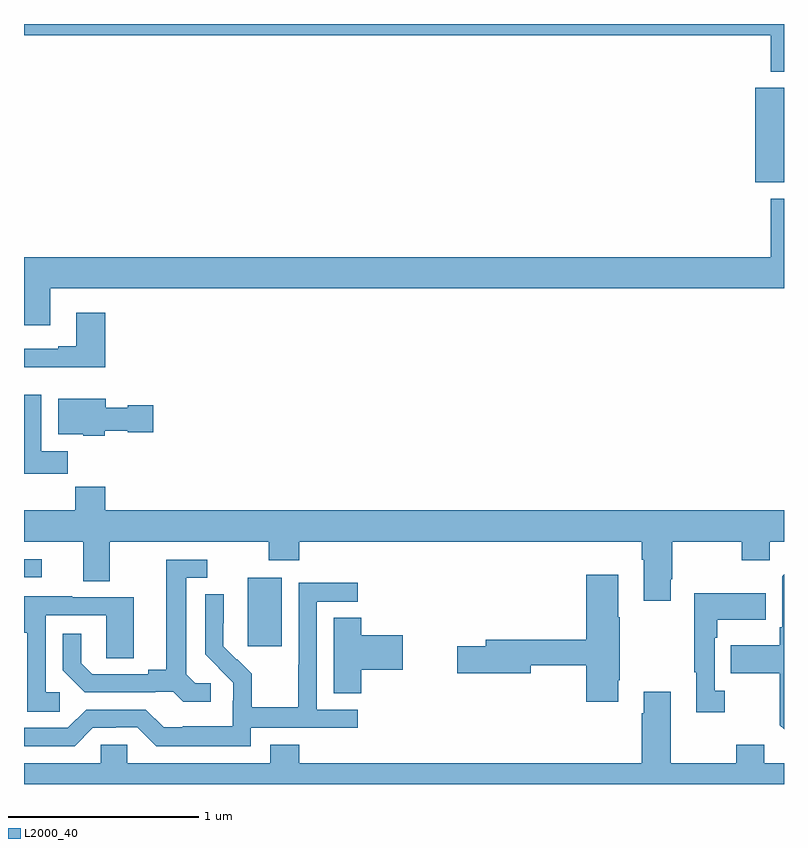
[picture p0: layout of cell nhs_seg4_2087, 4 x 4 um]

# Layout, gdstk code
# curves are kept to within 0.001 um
import gdstk
lib = gdstk.Library(unit=1e-6, precision=1e-09)
def R(c, l, rs):  # rectangles x0, y0, x1, y1
    for r in rs: c.add(gdstk.rectangle(r[:2], r[2:], *l))
def P(c, l, *ps):  # polygons
    for p in ps: c.add(gdstk.Polygon(p, *l))
L2000_40 = (2000, 40)

nhs_seg4_2087 = lib.new_cell('nhs_seg4_2087')
R(nhs_seg4_2087, L2000_40, [(220.178,773.625,220.357,773.986), (219,773.988,219.094,774.084), (222.848,776.066,223,776.565)])
P(nhs_seg4_2087, L2000_40, [(223,776.9),(219,776.9),(219,776.84),(222.929,776.84),(222.929,776.65),(223,776.65)],
  [(219.139,775.508),(223,775.508),(223,775.981),(222.929,775.981),(222.929,775.672),(219,775.672),(219,775.314),(219.139,775.314)],
  [(219.428,775.381),(219.275,775.381),(219.275,775.204),(219.179,775.204),(219.179,775.191),(219,775.191),(219,775.094),(219.428,775.094)],
  [(219.23,774.652),(219.091,774.652),(219.091,774.949),(219,774.949),(219,774.534),(219.23,774.534)],
  [(219.426,774.758),(219.546,774.758),(219.546,774.751),(219.679,774.751),(219.679,774.893),(219.546,774.893),(219.546,774.88),(219.43,774.88),(219.43,774.928),(219.179,774.928),(219.179,774.74),(219.312,774.74),(219.312,774.734),(219.426,774.734)],
  [(219.428,774.464),(219.271,774.464),(219.271,774.34),(219,774.34),(219,774.176),(219.311,774.176),(219.311,773.968),(219.451,773.968),(219.451,774.176),(220.288,774.176),(220.288,774.077),(220.448,774.077),(220.448,774.176),(222.251,774.176),(222.251,774.08),(222.263,774.08),(222.263,773.865),(222.403,773.865),(222.403,773.977),(222.411,773.977),(222.411,774.176),(222.778,774.176),(222.778,774.077),(222.924,774.077),(222.924,774.176),(223,774.176),(223,774.34),(219.428,774.34)],
  [(219.982,773.43),(219.9,773.43),(219.853,773.477),(219.853,773.985),(219.964,773.985),(219.964,774.081),(219.749,774.081),(219.749,773.501),(219.653,773.501),(219.653,773.478),(219.358,773.478),(219.301,773.535),(219.301,773.692),(219.204,773.692),(219.204,773.498),(219.32,773.382),(219.692,773.382),(219.692,773.385),(219.786,773.385),(219.838,773.333),(219.982,773.333)],
  [(223,774.004),(222.99,773.994),(222.99,773.725),(222.978,773.725),(222.978,773.629),(222.721,773.629),(222.721,773.482),(222.978,773.482),(222.978,773.209),(223,773.187)],
  [(222.127,773.446),(222.135,773.446),(222.135,773.777),(222.127,773.777),(222.127,774.001),(221.96,774.001),(221.96,773.66),(221.429,773.66),(221.429,773.624),(221.28,773.624),(221.28,773.482),(221.668,773.482),(221.668,773.524),(221.96,773.524),(221.96,773.334),(222.127,773.334)],
  [(220.194,773.196),(220.756,773.196),(220.756,773.292),(220.542,773.292),(220.542,773.859),(220.756,773.859),(220.756,773.958),(220.446,773.958),(220.446,773.528),(220.444,773.528),(220.444,773.305),(220.199,773.305),(220.199,773.479),(220.122,773.556),(220.119,773.553),(220.049,773.624),(220.05,773.9),(219.954,773.9),(219.954,773.582),(220.1,773.434),(220.1,773.337),(220.098,773.337),(220.098,773.203),(219.835,773.203),(219.835,773.199),(219.735,773.199),(219.642,773.292),(219.327,773.292),(219.231,773.196),(219,773.196),(219,773.1),(219.267,773.1),(219.363,773.196),(219.482,773.196),(219.482,773.199),(219.597,773.199),(219.697,773.099),(220.194,773.099)],
  [(222.688,773.39),(222.636,773.39),(222.636,773.669),(222.649,773.669),(222.649,773.765),(222.905,773.765),(222.905,773.905),(222.528,773.905),(222.528,773.489),(222.539,773.489),(222.539,773.277),(222.688,773.277)],
  [(219.187,773.382),(219.114,773.382),(219.114,773.787),(219.432,773.787),(219.432,773.563),(219.577,773.563),(219.577,773.883),(219.253,773.883),(219.253,773.887),(219,773.887),(219,773.697),(219.018,773.697),(219.018,773.281),(219.187,773.281)],
  [(220.775,773.501),(220.993,773.501),(220.993,773.684),(220.775,773.684),(220.775,773.774),(220.631,773.774),(220.631,773.377),(220.775,773.377)],
  [(223,773.008),(222.895,773.008),(222.895,773.107),(222.748,773.107),(222.748,773.008),(222.403,773.008),(222.403,773.386),(222.263,773.386),(222.263,773.273),(222.251,773.273),(222.251,773.008),(220.448,773.008),(220.448,773.107),(220.295,773.107),(220.295,773.008),(219.543,773.008),(219.543,773.106),(219.405,773.106),(219.405,773.008),(219,773.008),(219,772.9),(223,772.9)])

lib.write_gds('nhs_seg4_2087.gds')
